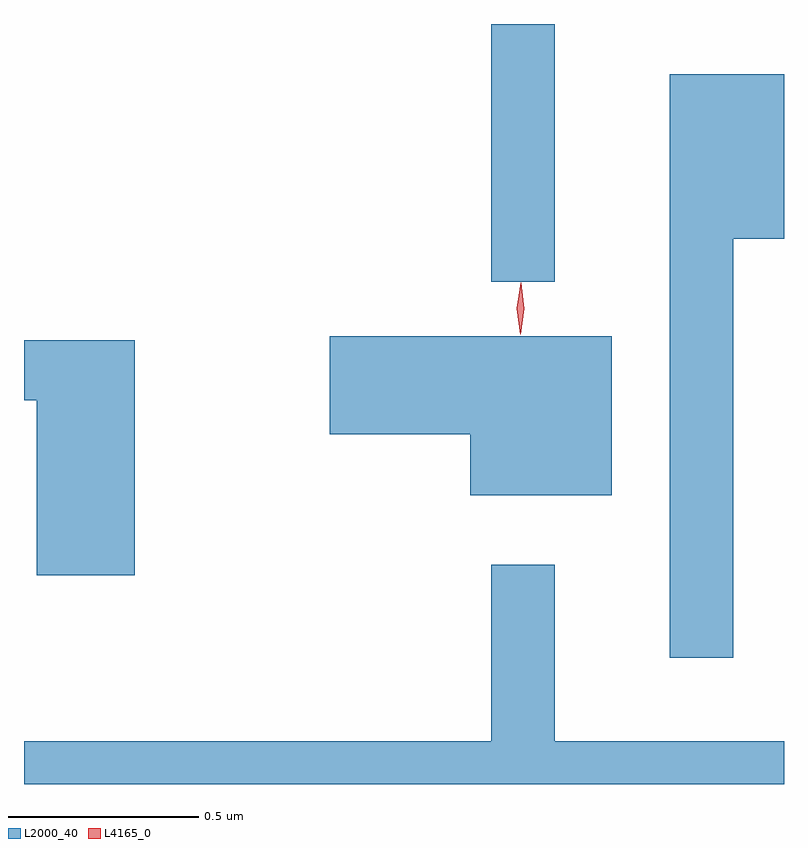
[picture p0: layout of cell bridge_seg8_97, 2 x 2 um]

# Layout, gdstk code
import gdstk
lib = gdstk.Library(unit=1e-6, precision=1e-09)
def R(c, l, rs):  # rectangles x0, y0, x1, y1
    for r in rs: c.add(gdstk.rectangle(r[:2], r[2:], *l))
def P(c, l, *ps):  # polygons
    for p in ps: c.add(gdstk.Polygon(p, *l))
L2000_40 = (2000, 40)
L4165_0 = (4165, 0)

bridge_seg8_97 = lib.new_cell('bridge_seg8_97')
R(bridge_seg8_97, L2000_40, [(1601.371,1855.653,1601.539,1856.331)])
P(bridge_seg8_97, L2000_40, [(1602.009,1855.766),(1602.142,1855.766),(1602.142,1856.199),(1601.841,1856.199),(1601.841,1854.663),(1602.009,1854.663)],
  [(1601.689,1855.509),(1600.946,1855.509),(1600.946,1855.251),(1601.316,1855.251),(1601.316,1855.091),(1601.689,1855.091)],
  [(1600.434,1855.499),(1600.142,1855.499),(1600.142,1855.341),(1600.176,1855.341),(1600.176,1854.881),(1600.434,1854.881)],
  [(1602.142,1854.444),(1601.539,1854.444),(1601.539,1854.908),(1601.371,1854.908),(1601.371,1854.444),(1600.142,1854.444),(1600.142,1854.331),(1602.142,1854.331)])
P(bridge_seg8_97, L4165_0, [(1601.448,1855.514),(1601.448,1855.514),(1601.439,1855.582),(1601.449,1855.65),(1601.45,1855.65),(1601.45,1855.65),(1601.459,1855.582),(1601.449,1855.514)],
  [(1601.448,1855.52),(1601.448,1855.521),(1601.439,1855.584),(1601.449,1855.646),(1601.45,1855.647),(1601.45,1855.646),(1601.459,1855.583),(1601.449,1855.521)])

lib.write_gds('bridge_seg8_97.gds')
